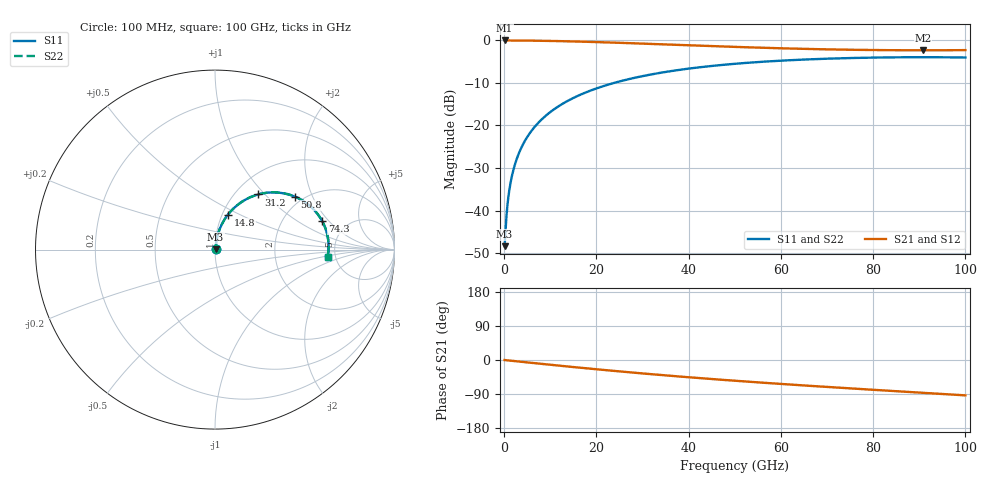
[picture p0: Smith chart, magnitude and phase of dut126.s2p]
! Touchstone file exported from HFSS 2026.1.0
!  File:  C:/ffzhzh/LocalFiles/Ansys_Project_Files/temp_train_RDL_126_1783499507_41296.aedt
!  Generated:  04:32:53 PM Jul  8, 2026
!  Design:  RDL
!  Project:  temp_train_RDL_126_1783499507_41296
! Variables:
!  h_bsmrdl = 2um
!  h_ox = 20um
!  h_rdl = 5um
!  h_sub = 80um
!  h_tmrdl = 2.17um
!  h_tsv = 80um
!  h_via = 3um
!  l_bsmrdl = 300um
!  l_sub = 702.73um
!  l_tmrdl = 302.73um
!  m_sub = 200um
!  pitch = 41.19um
!  r_tsv = 6um
!  s_tmrdl = 10um
!  w_bsmrdl = 18um
!  w_sub = 500um
!  w_tmrdl = 15.3um
!  x_tsv_center1 = 310.38um
!  x_tsv_center2 = 628.38um
!  x_tsv_center3 = 946.41um
!  x_tsv_center4 = 1264.41um
!  x_tsv_center5 = 1582.44um
!  x_tsv_center6 = 1900.44um
# GHz S MA R 50.000000
! Terminal data exported
! Port[1] = TM_RDL1_1_T1
! Port[2] = TM_RDL1_1_T2
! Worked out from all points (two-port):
!   1000 points, 100 MHz to 100 GHz, reference 50 ohm
!   highest |S21| = -0.03 dB at 100 MHz (marker M1); lowest = -2.3 dB at 90.8 GHz (marker M2)
!   |S21| within 3 dB of the highest: start of sweep to end of sweep
!   lowest |S11| = -48.3 dB at 100 MHz (marker M3), VSWR 1.01, Z = 50.3 + j0.158 ohm
!   |S11| at or under -10 dB: start of sweep to 23.84 GHz
!   |S22| runs from -48.3 to -4.0 dB; largest |S21 - S12| = 8.7e-15
!   S11 on the Smith chart (normalised r, x): 100 MHz: 1.01, +0.00; 14.8 GHz: 1.06, +0.43; 31.2 GHz: 1.27, +0.92; 50.8 GHz: 1.81, +1.50; 74.3 GHz: 3.31, +1.69; 100 GHz: 4.29, -0.61
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0.1  0.003824 24.3  0.9965 -0.1  0.9965 -0.1  0.003824 24.3
! Gamma 0 0 0 0
! Port Impedance 50 0 50 0
0.4  0.007228 59.1  0.9963 -0.5  0.9963 -0.5  0.007228 59.1
0.9  0.01424 72.6  0.9959 -1.2  0.9959 -1.2  0.01424 72.6
1.2  0.01851 75.6  0.9957 -1.5  0.9957 -1.5  0.01851 75.6
1.5  0.02279 77.4  0.9955 -1.9  0.9955 -1.9  0.02279 77.4
2.5  0.03716 79.9  0.9949 -3.2  0.9949 -3.2  0.03716 80.0
3.9  0.05736 80.4  0.9937 -5.0  0.9937 -5.0  0.05736 80.4
5.8  0.08463 79.3  0.9915 -7.3  0.9915 -7.3  0.08463 79.3
8.2  0.1186 77.0  0.9875 -10.3  0.9875 -10.3  0.1186 77.0
11.2  0.1601 73.8  0.981 -14.0  0.981 -14.0  0.1601 73.8
14.8  0.2078 69.7  0.9712 -18.4  0.9712 -18.4  0.2078 69.7
16.8  0.2333 67.4  0.965 -20.7  0.965 -20.7  0.2333 67.4
23.3  0.3103 60.2  0.9419 -28.2  0.9419 -28.2  0.3102 60.2
31.2  0.3913 51.8  0.9104 -36.7  0.9104 -36.7  0.3913 51.9
33.4  0.4114 49.6  0.9014 -39.0  0.9014 -39.0  0.4114 49.7
50.1  0.5306 34.1  0.837 -54.8  0.837 -54.8  0.5306 34.2
50.8  0.5345 33.4  0.8346 -55.4  0.8346 -55.4  0.5345 33.6
66.7  0.5996 20.5  0.7899 -68.5  0.7899 -68.5  0.5996 20.7
74.3  0.6179 14.8  0.776 -74.4  0.776 -74.4  0.6179 15.0
83.4  0.6304 8.1  0.7662 -81.1  0.7662 -81.1  0.6304 8.3
90.8  0.6335 2.7  0.7637 -86.6  0.7637 -86.6  0.6335 3.0
100  0.6286 -3.9  0.7675 -93.4  0.7675 -93.4  0.6286 -3.7
